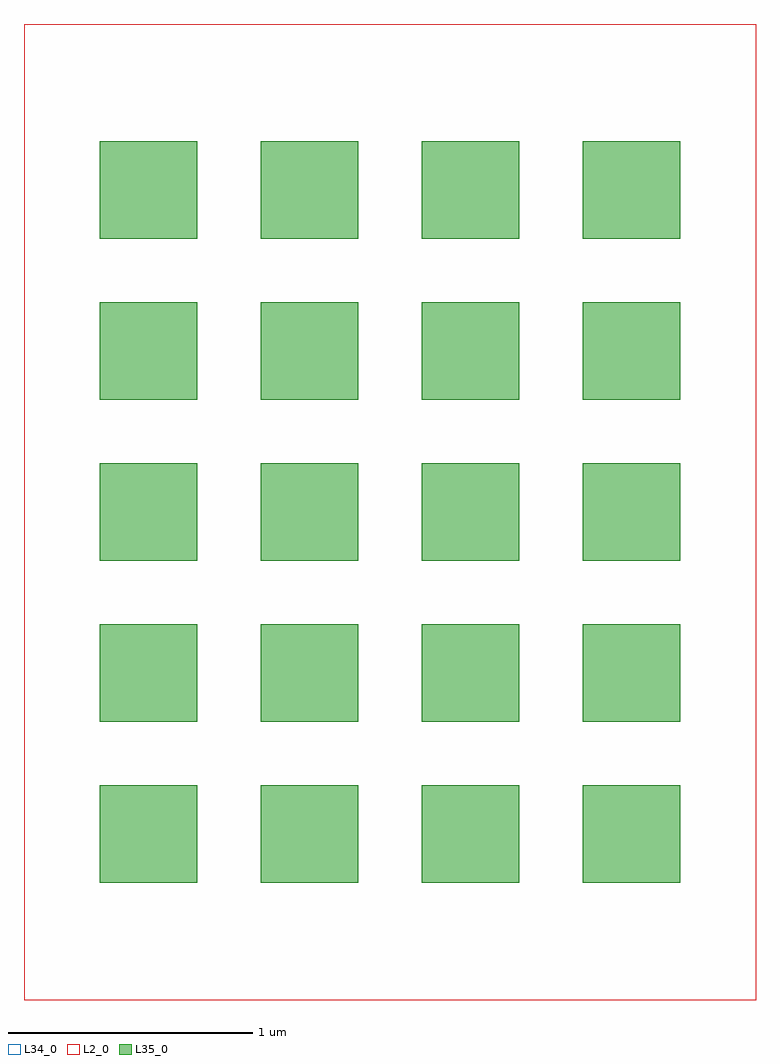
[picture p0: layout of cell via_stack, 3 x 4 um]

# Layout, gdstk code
import gdstk
lib = gdstk.Library(unit=1e-6, precision=1e-09)
def R(c, l, rs):  # rectangles x0, y0, x1, y1
    for r in rs: c.add(gdstk.rectangle(r[:2], r[2:], *l))
def A(c, l, x, y, w, h, nx, ny, dx, dy):  # array of equal rectangles
    R(c, l, [(x+i*dx, y+j*dy, x+i*dx+w, y+j*dy+h) for i in range(nx) for j in range(ny)])
L2_0 = (2, 0)
L34_0 = (34, 0)
L35_0 = (35, 0)

via_stack = lib.new_cell('via_stack')
R(via_stack, L2_0, [(0,0,3,4)])
R(via_stack, L34_0, [(0,0,3,4)])
A(via_stack, L35_0, 0.31, 0.48, 0.4, 0.4, 4, 5, 0.66, 0.66)

lib.write_gds('via_stack.gds')
